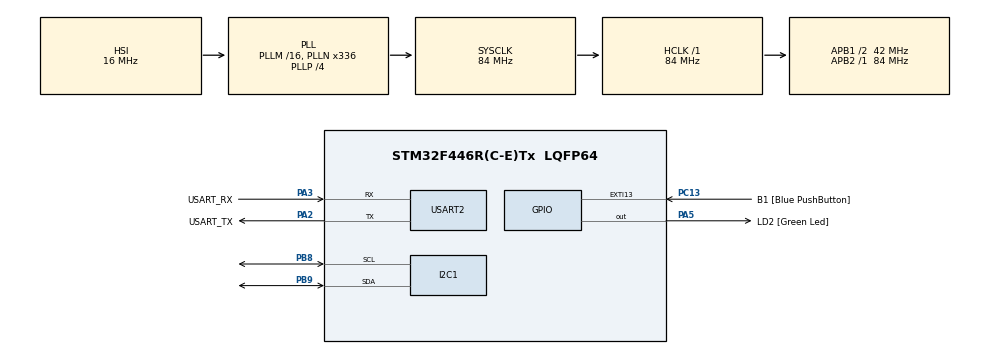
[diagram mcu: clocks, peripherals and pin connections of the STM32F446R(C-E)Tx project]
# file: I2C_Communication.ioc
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Mcu.Family=STM32F4
Mcu.Name=STM32F446R(C-E)Tx
Mcu.Package=LQFP64
NVIC.PriorityGroup=NVIC_PRIORITYGROUP_0
PA13.GPIO_Label=TMS
PA13.Mode=Serial_Wire
PA13.Signal=SYS_JTMS-SWDIO
PA14.GPIO_Label=TCK
PA14.Mode=Serial_Wire
PA14.Signal=SYS_JTCK-SWCLK
PA2.GPIO_Label=USART_TX
PA2.Mode=Asynchronous
PA2.Signal=USART2_TX
PA3.GPIO_Label=USART_RX
PA3.Mode=Asynchronous
PA3.Signal=USART2_RX
PA5.GPIO_Label=LD2 [Green Led]
PA5.Signal=GPIO_Output
PB3.GPIO_Label=SWO
PB3.Signal=SYS_JTDO-SWO
PB8.Mode=I2C
PB8.Signal=I2C1_SCL
PB9.Mode=I2C
PB9.Signal=I2C1_SDA
PC13.GPIO_Label=B1 [Blue PushButton]
PC13.GPIO_ModeDefaultEXTI=GPIO_MODE_IT_FALLING
PC13.Signal=GPXTI13
PC14-OSC32_IN.Mode=LSE-External-Oscillator
PC14-OSC32_IN.Signal=RCC_OSC32_IN
PC15-OSC32_OUT.Mode=LSE-External-Oscillator
PC15-OSC32_OUT.Signal=RCC_OSC32_OUT
PH0-OSC_IN.Mode=HSE-External-Oscillator
PH0-OSC_IN.Signal=RCC_OSC_IN
PH1-OSC_OUT.Mode=HSE-External-Oscillator
PH1-OSC_OUT.Signal=RCC_OSC_OUT
ProjectManager.HeapSize=0x200
ProjectManager.StackSize=0x400
ProjectManager.TargetToolchain=STM32CubeIDE
RCC.48MHZClocksFreq_Value=84000000
RCC.AHBFreq_Value=84000000
RCC.APB1CLKDivider=RCC_HCLK_DIV2
RCC.APB1Freq_Value=42000000
RCC.APB1TimFreq_Value=84000000
RCC.APB2Freq_Value=84000000
RCC.APB2TimFreq_Value=84000000
RCC.CortexFreq_Value=84000000
RCC.FLatency-AdvancedSettings=FLASH_LATENCY_2
RCC.HCLKFreq_Value=84000000
RCC.HSE_VALUE=8000000
RCC.HSI_VALUE=16000000
RCC.PLLN=336
RCC.PLLP=RCC_PLLP_DIV4
RCC.SYSCLKFreq_VALUE=84000000
RCC.SYSCLKSource=RCC_SYSCLKSOURCE_PLLCLK
RCC.USBFreq_Value=168000000
RCC.VCOOutputFreq_Value=336000000
USART2.VirtualMode=VM_ASYNC
board=NUCLEO-F446RE

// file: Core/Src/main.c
/* USER CODE BEGIN Header */
/**
  ******************************************************************************
  * @file           : main.c
  * @brief          : Main program body
  ******************************************************************************
  * @attention
  *
  * Copyright (c) 2026 STMicroelectronics.
  * All rights reserved.
  *
  * This software is licensed under terms that can be found in the LICENSE file
  * in the root directory of this software component.
  * If no LICENSE file comes with this software, it is provided AS-IS.
  *
  ******************************************************************************
  */
/* USER CODE END Header */
#include "main.h"

I2C_HandleTypeDef hi2c1;

UART_HandleTypeDef huart2;

void SystemClock_Config(void);
static void MX_GPIO_Init(void);
static void MX_USART2_UART_Init(void);
static void MX_I2C1_Init(void);

/* USER CODE BEGIN 0 */
#define OLED_ADDR 0x78   // 0x3C << 1

extern I2C_HandleTypeDef hi2c1;

void SSD1306_WriteCommand(uint8_t cmd);
void SSD1306_WriteData(uint8_t *data, uint16_t size);
void SSD1306_Init(void);
void SSD1306_DisplayImage(const uint8_t *img);
const uint8_t image[1024] = {
   // PASTE YOUR FULL 1024 BYTES HERE
		0xff, 0xff, 0xff, 0xff, 0xff, 0xff, 0xff, 0xff, 0xff, 0xff, 0xff, 0xff, 0xff, 0xff, 0xff, 0xff,
		0xff, 0xff, 0xff, 0xff, 0xff, 0xff, 0xff, 0xff, 0xff, 0xff, 0xff, 0xff, 0xff, 0xff, 0xff, 0xff,
		0xff, 0xff, 0xff, 0xff, 0xff, 0xff, 0xff, 0xff, 0xff, 0xff, 0xff, 0xff, 0xff, 0xff, 0xff, 0xff,
		0xff, 0xff, 0xff, 0xff, 0xff, 0xff, 0xff, 0xff, 0xff, 0xff, 0xff, 0xff, 0xff, 0xff, 0xff, 0xff,
		0xff, 0xff, 0xff, 0xff, 0xff, 0xff, 0xff, 0xff, 0xff, 0xff, 0xff, 0xff, 0xff, 0xff, 0xff, 0xff,
		0xff, 0xff, 0xff, 0xff, 0xff, 0xff, 0xff, 0xff, 0xff, 0xff, 0xff, 0xff, 0xff, 0xff, 0xff, 0xff,
		0xff, 0xff, 0xff, 0xff, 0xff, 0xff, 0xff, 0xff, 0xff, 0xff, 0xff, 0xff, 0xff, 0xff, 0xff, 0xff,
		0xff, 0xff, 0xff, 0xff, 0xff, 0xff, 0xff, 0xff, 0xff, 0xff, 0xff, 0xff, 0xff, 0xff, 0xff, 0xff,
		0xff, 0xff, 0xff, 0xff, 0xff, 0xff, 0xff, 0xff, 0xff, 0xff, 0xff, 0xff, 0x0f, 0x0f, 0x0f, 0xff,
		0xff, 0xff, 0xff, 0xff, 0xff, 0xff, 0xff, 0xff, 0xff, 0xff, 0xff, 0xff, 0xff, 0xff, 0xff, 0xff,
		0xff, 0xff, 0xff, 0xff, 0x8f, 0x8f, 0x8f, 0xff, 0xff, 0xff, 0xff, 0xff, 0xff, 0xff, 0xff, 0xff,
		0xff, 0xff, 0xff, 0xff, 0xff, 0xff, 0xff, 0xff, 0xff, 0xff, 0xff, 0xff, 0xff, 0xff, 0xff, 0xff,
		0xff, 0xff, 0xff, 0xff, 0xff, 0xff, 0xff, 0xff, 0xff, 0xff, 0xff, 0xff, 0xff, 0xff, 0xff, 0xff,
		0xff, 0xff, 0xff, 0xff, 0xff, 0xff, 0xff, 0xff, 0xff, 0xff, 0xff, 0xff, 0xff, 0xff, 0xff, 0xff,
		0xff, 0xff, 0xff, 0xff, 0xff, 0xff, 0xff, 0xff, 0xff, 0xff, 0xff, 0xff, 0xff, 0xff, 0xff, 0xff,
		0xff, 0xff, 0xff, 0xff, 0xff, 0xff, 0xff, 0xff, 0xff, 0xff, 0xff, 0xff, 0xff, 0xff, 0xff, 0xff,
		0xff, 0xff, 0xff, 0xff, 0xff, 0xff, 0xff, 0xff, 0xff, 0xff, 0xff, 0xff, 0x00, 0x00, 0x00, 0x3f,
		0x3f, 0x3f, 0x1f, 0x1f, 0x0f, 0x8f, 0x8f, 0x8f, 0x8f, 0x0f, 0x0f, 0x1f, 0x3f, 0x7f, 0xff, 0xff,
		0xff, 0xff, 0xff, 0xff, 0x0f, 0x0f, 0x0f, 0xff, 0xff, 0xff, 0xff, 0xef, 0x8f, 0x0f, 0x1f, 0x3f,
		0x7f, 0xff, 0xff, 0xff, 0xff, 0xff, 0xff, 0xff, 0xff, 0x7f, 0x3f, 0x0f, 0x0f, 0x8f, 0xef, 0xff,
		0xff, 0xff, 0xff, 0x7f, 0x3f, 0x1f, 0x1f, 0x1f, 0x0f, 0x8f, 0x8f, 0x8f, 0x8f, 0x0f, 0x1f, 0x1f,
		0x3f, 0x3f, 0x7f, 0xff, 0xff, 0xff, 0xff, 0xff, 0xff, 0xff, 0xff, 0xff, 0xff, 0xff, 0xff, 0xff,
		0x7f, 0x3f, 0x3f, 0x1f, 0x1f, 0x0f, 0x8f, 0x8f, 0x8f, 0x8f, 0x8f, 0x0f, 0x1f, 0x1f, 0x3f, 0x3f,
		0x7f, 0xff, 0xff, 0xff, 0xff, 0xff, 0xff, 0xff, 0xff, 0xff, 0xff, 0xff, 0xff, 0xff, 0xff, 0xff,
		0xff, 0xff, 0xff, 0xff, 0xff, 0xff, 0xff, 0xff, 0xff, 0xff, 0xff, 0xff, 0x00, 0x00, 0x00, 0xe0,
		0xf8, 0xfc, 0xfe, 0xff, 0xff, 0xff, 0xff, 0xff, 0xff, 0xff, 0xfe, 0xfc, 0x00, 0x00, 0x00, 0x03,
		0xff, 0xff, 0xff, 0xff, 0x00, 0x00, 0x00, 0xff, 0xff, 0xff, 0xff, 0xff, 0xff, 0xff, 0xfc, 0xf8,
		0xf0, 0xc1, 0x83, 0x0f, 0x1f, 0x1f, 0x07, 0x83, 0xc1, 0xf0, 0xf8, 0xfe, 0xff, 0xff, 0xff, 0x1f,
		0x03, 0x01, 0xc0, 0xf0, 0xfc, 0xfe, 0xfe, 0xff, 0xff, 0xff, 0xff, 0xff, 0xff, 0xff, 0xff, 0xfe,
		0xfe, 0xfc, 0xf8, 0xf0, 0xe0, 0xc1, 0x83, 0x0f, 0x1f, 0x3f, 0x7f, 0xff, 0xff, 0xe7, 0xc1, 0x80,
		0xf0, 0xf8, 0xfc, 0xfe, 0xff, 0xff, 0xff, 0xff, 0xff, 0xff, 0xff, 0xff, 0xff, 0xfe, 0xfc, 0xf8,
		0xe0, 0x00, 0x03, 0x0f, 0xff, 0xff, 0xff, 0xff, 0xff, 0xff, 0xff, 0xff, 0xff, 0xff, 0xff, 0xff,
		0xff, 0xff, 0xff, 0xff, 0xff, 0xff, 0xff, 0xff, 0xff, 0xff, 0xff, 0xff, 0x00, 0x00, 0x00, 0xff,
		0xff, 0xff, 0xff, 0xff, 0xff, 0xff, 0xff, 0xff, 0xff, 0xff, 0xff, 0xff, 0x00, 0x00, 0x00, 0x00,
		0xff, 0xff, 0xff, 0xff, 0x00, 0x00, 0x00, 0xff, 0xff, 0xff, 0xff, 0xff, 0xff, 0xff, 0x7f, 0x1f,
		0x0f, 0x83, 0xc1, 0xe0, 0xf0, 0xf0, 0xe0, 0xc1, 0x87, 0x0f, 0x1f, 0x7f, 0xff, 0xff, 0xff, 0xf8,
		0xc0, 0x80, 0x03, 0x1f, 0x3f, 0x7f, 0xff, 0xff, 0xff, 0xff, 0xff, 0xff, 0xff, 0xff, 0xff, 0xff,
		0x7f, 0x3f, 0x1f, 0x03, 0x03, 0x07, 0x0f, 0xff, 0xfe, 0xfc, 0xf8, 0xf0, 0xe1, 0xc3, 0x87, 0x0f,
		0x1f, 0x3f, 0x3f, 0x7f, 0xff, 0xff, 0xff, 0xff, 0xff, 0xff, 0xff, 0xff, 0xff, 0x7f, 0x3f, 0x1f,
		0x0f, 0x00, 0x00, 0x00, 0xff, 0xff, 0xff, 0xff, 0xff, 0xff, 0xff, 0xff, 0xff, 0xff, 0xff, 0xff,
		0xff, 0xff, 0xff, 0xff, 0xff, 0xff, 0xff, 0xff, 0xff, 0xff, 0xff, 0xff, 0x30, 0xb0, 0xb0, 0xbf,
		0xff, 0xff, 0xff, 0xff, 0xff, 0xff, 0xff, 0xff, 0xff, 0xff, 0xff, 0xff, 0xf0, 0xf0, 0xf0, 0x30,
		0x3f, 0xff, 0x3f, 0xff, 0xf0, 0xf0, 0xf0, 0xff, 0xff, 0xff, 0xff, 0xf7, 0xf1, 0xf0, 0xf8, 0xfc,
		0xfe, 0xff, 0xff, 0xff, 0xff, 0xff, 0xff, 0xff, 0xff, 0xfe, 0xfc, 0x30, 0xf0, 0xf1, 0xf7, 0xff,
		0xff, 0xff, 0xff, 0xfe, 0xfc, 0x78, 0xb8, 0x38, 0xf0, 0xf1, 0xf1, 0xf1, 0xf1, 0xf1, 0xf0, 0xf8,
		0x78, 0xfc, 0xfc, 0xf0, 0xf0, 0xf0, 0xf0, 0xff, 0xff, 0xff, 0xff, 0xff, 0xff, 0xff, 0xff, 0xff,
		0xfe, 0xfc, 0xfc, 0xf8, 0xf8, 0x70, 0xf1, 0xf1, 0xb1, 0xb1, 0xf1, 0xf0, 0xf8, 0xf8, 0xfc, 0xfc,
		0xfc, 0xf0, 0xf0, 0xf0, 0xff, 0xff, 0xff, 0xff, 0xff, 0xff, 0xff, 0xff, 0xff, 0xff, 0xff, 0xff,
		0xff, 0xff, 0xff, 0xff, 0xff, 0xff, 0xff, 0xff, 0xff, 0xff, 0xff, 0xff, 0xf0, 0xf5, 0xf5, 0xf7,
		0xfe, 0xf0, 0xf9, 0xf4, 0xff, 0xf1, 0xf6, 0xf6, 0xf4, 0xff, 0xf9, 0xf6, 0xf6, 0xf4, 0xff, 0xf0,
		0xf0, 0xff, 0xf0, 0xff, 0xf0, 0xf6, 0xf6, 0xf4, 0xff, 0xf0, 0xfe, 0xfe, 0xf0, 0xff, 0xf9, 0xf6,
		0xf6, 0xf4, 0xfd, 0xf9, 0xf6, 0xf6, 0xf4, 0xff, 0xff, 0xff, 0xff, 0xf0, 0xff, 0xf0, 0xfe, 0xfe,
		0xf0, 0xff, 0xff, 0xff, 0xf7, 0xf8, 0xfb, 0xf8, 0xf1, 0xff, 0xf0, 0xf7, 0xf7, 0xf0, 0xff, 0xfe,
		0xf0, 0xf6, 0xff, 0xf1, 0xf6, 0xf6, 0xf0, 0xff, 0xf0, 0xf0, 0xfe, 0xf0, 0xfe, 0xfe, 0xf1, 0xff,
		0xf2, 0xfa, 0xf0, 0xf1, 0xfe, 0xf0, 0xf6, 0xfe, 0xff, 0xf0, 0xff, 0xf0, 0xf6, 0xf6, 0xf0, 0xff,
		0xf0, 0xff, 0xfe, 0xf0, 0xff, 0xff, 0xff, 0xff, 0xff, 0xff, 0xff, 0xff, 0xff, 0xff, 0xff, 0xff,
		0xff, 0xff, 0xff, 0xff, 0xff, 0xff, 0xff, 0xff, 0xff, 0xff, 0xff, 0xff, 0xff, 0xff, 0xff, 0xff,
		0xff, 0xff, 0xff, 0xff, 0xff, 0xff, 0xff, 0xff, 0xff, 0xff, 0xff, 0xff, 0xff, 0xff, 0xff, 0xff,
		0xff, 0xff, 0xff, 0xff, 0xff, 0xff, 0xff, 0xff, 0xff, 0xff, 0xff, 0xff, 0xff, 0xff, 0xff, 0xff,
		0xff, 0xff, 0xff, 0xff, 0xff, 0xff, 0xff, 0xff, 0xff, 0xff, 0xff, 0xff, 0xff, 0xff, 0xff, 0xff,
		0xff, 0xff, 0xff, 0xff, 0xff, 0xff, 0xff, 0xff, 0xff, 0xff, 0xff, 0xff, 0xff, 0xff, 0xff, 0xff,
		0xff, 0xff, 0xff, 0xff, 0xff, 0xff, 0xff, 0xff, 0xff, 0xff, 0xff, 0xff, 0xff, 0xff, 0xff, 0xff,
		0xff, 0xff, 0xff, 0xff, 0xff, 0xff, 0xff, 0xff, 0xff, 0xff, 0xff, 0xff, 0xff, 0xff, 0xff, 0xff,
		0xff, 0xff, 0xff, 0xff, 0xff, 0xff, 0xff, 0xff, 0xff, 0xff, 0xff, 0xff, 0xff, 0xff, 0xff, 0xff
};
/* USER CODE END 0 */

int main(void)
{

  /* MCU Configuration--------------------------------------------------------*/

  /* Reset of all peripherals, Initializes the Flash interface and the Systick. */
  HAL_Init();

  /* Configure the system clock */
  SystemClock_Config();

  /* Initialize all configured peripherals */
  MX_GPIO_Init();
  MX_USART2_UART_Init();
  MX_I2C1_Init();
  /* USER CODE BEGIN 2 */
  SSD1306_Init();
  SSD1306_DisplayImage(image);
  /* USER CODE END 2 */

  /* Infinite loop */
  while (1)
  {

  }
}

void SystemClock_Config(void)
{
  RCC_OscInitTypeDef RCC_OscInitStruct = {0};
  RCC_ClkInitTypeDef RCC_ClkInitStruct = {0};

  /** Configure the main internal regulator output voltage
  */
  __HAL_RCC_PWR_CLK_ENABLE();
  __HAL_PWR_VOLTAGESCALING_CONFIG(PWR_REGULATOR_VOLTAGE_SCALE3);

  /** Initializes the RCC Oscillators according to the specified parameters
  * in the RCC_OscInitTypeDef structure.
  */
  RCC_OscInitStruct.OscillatorType = RCC_OSCILLATORTYPE_HSI;
  RCC_OscInitStruct.HSIState = RCC_HSI_ON;
  RCC_OscInitStruct.HSICalibrationValue = RCC_HSICALIBRATION_DEFAULT;
  RCC_OscInitStruct.PLL.PLLState = RCC_PLL_ON;
  RCC_OscInitStruct.PLL.PLLSource = RCC_PLLSOURCE_HSI;
  RCC_OscInitStruct.PLL.PLLM = 16;
  RCC_OscInitStruct.PLL.PLLN = 336;
  RCC_OscInitStruct.PLL.PLLP = RCC_PLLP_DIV4;
  RCC_OscInitStruct.PLL.PLLQ = 2;
  RCC_OscInitStruct.PLL.PLLR = 2;
  if (HAL_RCC_OscConfig(&RCC_OscInitStruct) != HAL_OK)
  {
    Error_Handler();
  }

  /** Initializes the CPU, AHB and APB buses clocks
  */
  RCC_ClkInitStruct.ClockType = RCC_CLOCKTYPE_HCLK|RCC_CLOCKTYPE_SYSCLK
                              |RCC_CLOCKTYPE_PCLK1|RCC_CLOCKTYPE_PCLK2;
  RCC_ClkInitStruct.SYSCLKSource = RCC_SYSCLKSOURCE_PLLCLK;
  RCC_ClkInitStruct.AHBCLKDivider = RCC_SYSCLK_DIV1;
  RCC_ClkInitStruct.APB1CLKDivider = RCC_HCLK_DIV2;
  RCC_ClkInitStruct.APB2CLKDivider = RCC_HCLK_DIV1;

  if (HAL_RCC_ClockConfig(&RCC_ClkInitStruct, FLASH_LATENCY_2) != HAL_OK)
  {
    Error_Handler();
  }
}

static void MX_I2C1_Init(void)
{

  hi2c1.Instance = I2C1;
  hi2c1.Init.ClockSpeed = 100000;
  hi2c1.Init.DutyCycle = I2C_DUTYCYCLE_2;
  hi2c1.Init.OwnAddress1 = 0;
  hi2c1.Init.AddressingMode = I2C_ADDRESSINGMODE_7BIT;
  hi2c1.Init.DualAddressMode = I2C_DUALADDRESS_DISABLE;
  hi2c1.Init.OwnAddress2 = 0;
  hi2c1.Init.GeneralCallMode = I2C_GENERALCALL_DISABLE;
  hi2c1.Init.NoStretchMode = I2C_NOSTRETCH_DISABLE;
  if (HAL_I2C_Init(&hi2c1) != HAL_OK)
  {
    Error_Handler();
  }

}

static void MX_USART2_UART_Init(void)
{

  huart2.Instance = USART2;
  huart2.Init.BaudRate = 115200;
  huart2.Init.WordLength = UART_WORDLENGTH_8B;
  huart2.Init.StopBits = UART_STOPBITS_1;
  huart2.Init.Parity = UART_PARITY_NONE;
  huart2.Init.Mode = UART_MODE_TX_RX;
  huart2.Init.HwFlowCtl = UART_HWCONTROL_NONE;
  huart2.Init.OverSampling = UART_OVERSAMPLING_16;
  if (HAL_UART_Init(&huart2) != HAL_OK)
  {
    Error_Handler();
  }

}

static void MX_GPIO_Init(void)
{
  GPIO_InitTypeDef GPIO_InitStruct = {0};

  /* GPIO Ports Clock Enable */
  __HAL_RCC_GPIOC_CLK_ENABLE();
  __HAL_RCC_GPIOH_CLK_ENABLE();
  __HAL_RCC_GPIOA_CLK_ENABLE();
  __HAL_RCC_GPIOB_CLK_ENABLE();

  /*Configure GPIO pin Output Level */
  HAL_GPIO_WritePin(LD2_GPIO_Port, LD2_Pin, GPIO_PIN_RESET);

  /*Configure GPIO pin : B1_Pin */
  GPIO_InitStruct.Pin = B1_Pin;
  GPIO_InitStruct.Mode = GPIO_MODE_IT_FALLING;
  GPIO_InitStruct.Pull = GPIO_NOPULL;
  HAL_GPIO_Init(B1_GPIO_Port, &GPIO_InitStruct);

  /*Configure GPIO pin : LD2_Pin */
  GPIO_InitStruct.Pin = LD2_Pin;
  GPIO_InitStruct.Mode = GPIO_MODE_OUTPUT_PP;
  GPIO_InitStruct.Pull = GPIO_NOPULL;
  GPIO_InitStruct.Speed = GPIO_SPEED_FREQ_LOW;
  HAL_GPIO_Init(LD2_GPIO_Port, &GPIO_InitStruct);

}

/* USER CODE BEGIN 4 */
void SSD1306_WriteCommand(uint8_t cmd)
{
    uint8_t data[2];
    data[0] = 0x00;
    data[1] = cmd;
    HAL_I2C_Master_Transmit(&hi2c1, OLED_ADDR, data, 2, 100);
}
void SSD1306_WriteData(uint8_t *data, uint16_t size)
{
    uint8_t buffer[129];
    buffer[0] = 0x40;

    for(uint16_t i = 0; i < size; i++)
    {
        buffer[i+1] = data[i];
    }

    HAL_I2C_Master_Transmit(&hi2c1, OLED_ADDR, buffer, size+1, 100);
}
void SSD1306_Init(void)
{
    HAL_Delay(100);

    SSD1306_WriteCommand(0xAE);
    SSD1306_WriteCommand(0x20);
    SSD1306_WriteCommand(0x10);
    SSD1306_WriteCommand(0xB0);
    SSD1306_WriteCommand(0xC8);
    SSD1306_WriteCommand(0x00);
    SSD1306_WriteCommand(0x10);
    SSD1306_WriteCommand(0x40);
    SSD1306_WriteCommand(0x81);
    SSD1306_WriteCommand(0xFF);
    SSD1306_WriteCommand(0xA1);
    SSD1306_WriteCommand(0xA6);
    SSD1306_WriteCommand(0xA8);
    SSD1306_WriteCommand(0x3F);
    SSD1306_WriteCommand(0xA4);
    SSD1306_WriteCommand(0xD3);
    SSD1306_WriteCommand(0x00);
    SSD1306_WriteCommand(0xD5);
    SSD1306_WriteCommand(0xF0);
    SSD1306_WriteCommand(0xD9);
    SSD1306_WriteCommand(0x22);
    SSD1306_WriteCommand(0xDA);
    SSD1306_WriteCommand(0x12);
    SSD1306_WriteCommand(0xDB);
    SSD1306_WriteCommand(0x20);
    SSD1306_WriteCommand(0x8D);
    SSD1306_WriteCommand(0x14);
    SSD1306_WriteCommand(0xAF);
}
void SSD1306_DisplayImage(const uint8_t *img)
{
    for(uint8_t page = 0; page < 8; page++)
    {
        SSD1306_WriteCommand(0xB0 + page);
        SSD1306_WriteCommand(0x00);
        SSD1306_WriteCommand(0x10);

        SSD1306_WriteData((uint8_t*)&img[page * 128], 128);
    }
}
/* USER CODE END 4 */

void Error_Handler(void)
{
  __disable_irq();
  while (1)
  {
  }
}
